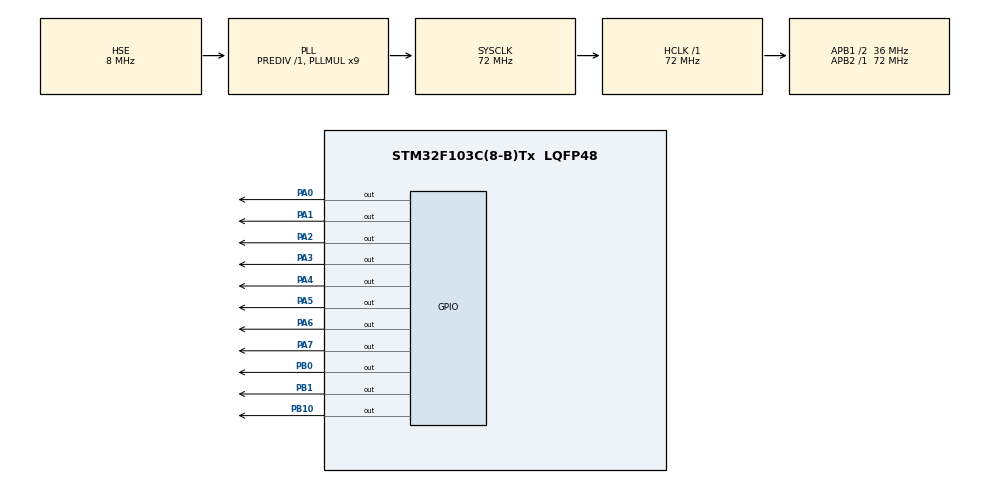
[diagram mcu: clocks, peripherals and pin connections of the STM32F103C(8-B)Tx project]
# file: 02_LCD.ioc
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Mcu.Family=STM32F1
Mcu.Name=STM32F103C(8-B)Tx
Mcu.Package=LQFP48
NVIC.PriorityGroup=NVIC_PRIORITYGROUP_4
PA0-WKUP.Signal=GPIO_Output
PA1.Signal=GPIO_Output
PA13.Mode=Serial_Wire
PA13.Signal=SYS_JTMS-SWDIO
PA14.Mode=Serial_Wire
PA14.Signal=SYS_JTCK-SWCLK
PA2.Signal=GPIO_Output
PA3.Signal=GPIO_Output
PA4.Signal=GPIO_Output
PA5.Signal=GPIO_Output
PA6.Signal=GPIO_Output
PA7.Signal=GPIO_Output
PB0.Signal=GPIO_Output
PB1.Signal=GPIO_Output
PB10.Signal=GPIO_Output
PD0-OSC_IN.Mode=HSE-External-Oscillator
PD0-OSC_IN.Signal=RCC_OSC_IN
PD1-OSC_OUT.Mode=HSE-External-Oscillator
PD1-OSC_OUT.Signal=RCC_OSC_OUT
ProjectManager.HeapSize=0x200
ProjectManager.StackSize=0x400
ProjectManager.TargetToolchain=STM32CubeIDE
RCC.AHBFreq_Value=72000000
RCC.APB1CLKDivider=RCC_HCLK_DIV2
RCC.APB1Freq_Value=36000000
RCC.APB1TimFreq_Value=72000000
RCC.APB2Freq_Value=72000000
RCC.APB2TimFreq_Value=72000000
RCC.HCLKFreq_Value=72000000
RCC.PLLMUL=RCC_PLL_MUL9
RCC.PLLSourceVirtual=RCC_PLLSOURCE_HSE
RCC.SYSCLKFreq_VALUE=72000000
RCC.SYSCLKSource=RCC_SYSCLKSOURCE_PLLCLK
RCC.USBFreq_Value=72000000
board=custom

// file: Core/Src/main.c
/* USER CODE BEGIN Header */
/**
 ******************************************************************************
 * @file           : main.c
 * @brief          : Main program body
 ******************************************************************************
 * @attention
 *
 * Copyright (c) 2026 STMicroelectronics.
 * All rights reserved.
 *
 * This software is licensed under terms that can be found in the LICENSE file
 * in the root directory of this software component.
 * If no LICENSE file comes with this software, it is provided AS-IS.
 *
 ******************************************************************************
 */
/* USER CODE END Header */
#include "main.h"

/* USER CODE BEGIN Includes */
#include "LCD.h"
/* USER CODE END Includes */

void SystemClock_Config(void);
static void MX_GPIO_Init(void);

/* USER CODE BEGIN 0 */
LCD lcd;
/* USER CODE END 0 */

int main(void) {

	/* USER CODE BEGIN 1 */
	lcd.data_port = GPIOA;
	lcd.r_port = GPIOB;
	lcd.D0_pin = GPIO_PIN_0;
	lcd.D1_pin = GPIO_PIN_1;
	lcd.D2_pin = GPIO_PIN_2;
	lcd.D3_pin = GPIO_PIN_3;
	lcd.D4_pin = GPIO_PIN_4;
	lcd.D5_pin = GPIO_PIN_5;
	lcd.D6_pin = GPIO_PIN_6;
	lcd.D7_pin = GPIO_PIN_7;
	lcd.RS_pin = GPIO_PIN_0;
	lcd.RW_pin = GPIO_PIN_1;
	lcd.E_pin = GPIO_PIN_10;
	/* USER CODE END 1 */

	/* MCU Configuration--------------------------------------------------------*/

	/* Reset of all peripherals, Initializes the Flash interface and the Systick. */
	HAL_Init();

	/* Configure the system clock */
	SystemClock_Config();

	/* Initialize all configured peripherals */
	MX_GPIO_Init();
	/* USER CODE BEGIN 2 */
	LCD_init(&lcd);
	LCD_Print(&lcd, "Hello, World!");
	/* USER CODE END 2 */

	/* Infinite loop */
	while (1) {

	}
}

void SystemClock_Config(void) {
	RCC_OscInitTypeDef RCC_OscInitStruct = { 0 };
	RCC_ClkInitTypeDef RCC_ClkInitStruct = { 0 };

	/** Initializes the RCC Oscillators according to the specified parameters
	 * in the RCC_OscInitTypeDef structure.
	 */
	RCC_OscInitStruct.OscillatorType = RCC_OSCILLATORTYPE_HSE;
	RCC_OscInitStruct.HSEState = RCC_HSE_ON;
	RCC_OscInitStruct.HSEPredivValue = RCC_HSE_PREDIV_DIV1;
	RCC_OscInitStruct.HSIState = RCC_HSI_ON;
	RCC_OscInitStruct.PLL.PLLState = RCC_PLL_ON;
	RCC_OscInitStruct.PLL.PLLSource = RCC_PLLSOURCE_HSE;
	RCC_OscInitStruct.PLL.PLLMUL = RCC_PLL_MUL9;
	if (HAL_RCC_OscConfig(&RCC_OscInitStruct) != HAL_OK) {
		Error_Handler();
	}

	/** Initializes the CPU, AHB and APB buses clocks
	 */
	RCC_ClkInitStruct.ClockType = RCC_CLOCKTYPE_HCLK | RCC_CLOCKTYPE_SYSCLK
			| RCC_CLOCKTYPE_PCLK1 | RCC_CLOCKTYPE_PCLK2;
	RCC_ClkInitStruct.SYSCLKSource = RCC_SYSCLKSOURCE_PLLCLK;
	RCC_ClkInitStruct.AHBCLKDivider = RCC_SYSCLK_DIV1;
	RCC_ClkInitStruct.APB1CLKDivider = RCC_HCLK_DIV2;
	RCC_ClkInitStruct.APB2CLKDivider = RCC_HCLK_DIV1;

	if (HAL_RCC_ClockConfig(&RCC_ClkInitStruct, FLASH_LATENCY_2) != HAL_OK) {
		Error_Handler();
	}
}

static void MX_GPIO_Init(void) {
	GPIO_InitTypeDef GPIO_InitStruct = { 0 };

	/* GPIO Ports Clock Enable */
	__HAL_RCC_GPIOD_CLK_ENABLE();
	__HAL_RCC_GPIOA_CLK_ENABLE();
	__HAL_RCC_GPIOB_CLK_ENABLE();

	/*Configure GPIO pin Output Level */
	HAL_GPIO_WritePin(GPIOA,
			GPIO_PIN_0 | GPIO_PIN_1 | GPIO_PIN_2 | GPIO_PIN_3 | GPIO_PIN_4
					| GPIO_PIN_5 | GPIO_PIN_6 | GPIO_PIN_7, GPIO_PIN_RESET);

	/*Configure GPIO pin Output Level */
	HAL_GPIO_WritePin(GPIOB, GPIO_PIN_0 | GPIO_PIN_1 | GPIO_PIN_10,
			GPIO_PIN_RESET);

	/*Configure GPIO pins : PA0 PA1 PA2 PA3
	 PA4 PA5 PA6 PA7 */
	GPIO_InitStruct.Pin = GPIO_PIN_0 | GPIO_PIN_1 | GPIO_PIN_2 | GPIO_PIN_3
			| GPIO_PIN_4 | GPIO_PIN_5 | GPIO_PIN_6 | GPIO_PIN_7;
	GPIO_InitStruct.Mode = GPIO_MODE_OUTPUT_PP;
	GPIO_InitStruct.Pull = GPIO_NOPULL;
	GPIO_InitStruct.Speed = GPIO_SPEED_FREQ_LOW;
	HAL_GPIO_Init(GPIOA, &GPIO_InitStruct);

	/*Configure GPIO pins : PB0 PB1 PB10 */
	GPIO_InitStruct.Pin = GPIO_PIN_0 | GPIO_PIN_1 | GPIO_PIN_10;
	GPIO_InitStruct.Mode = GPIO_MODE_OUTPUT_PP;
	GPIO_InitStruct.Pull = GPIO_NOPULL;
	GPIO_InitStruct.Speed = GPIO_SPEED_FREQ_LOW;
	HAL_GPIO_Init(GPIOB, &GPIO_InitStruct);

}

void Error_Handler(void) {
	__disable_irq();
	while (1) {
	}
}
